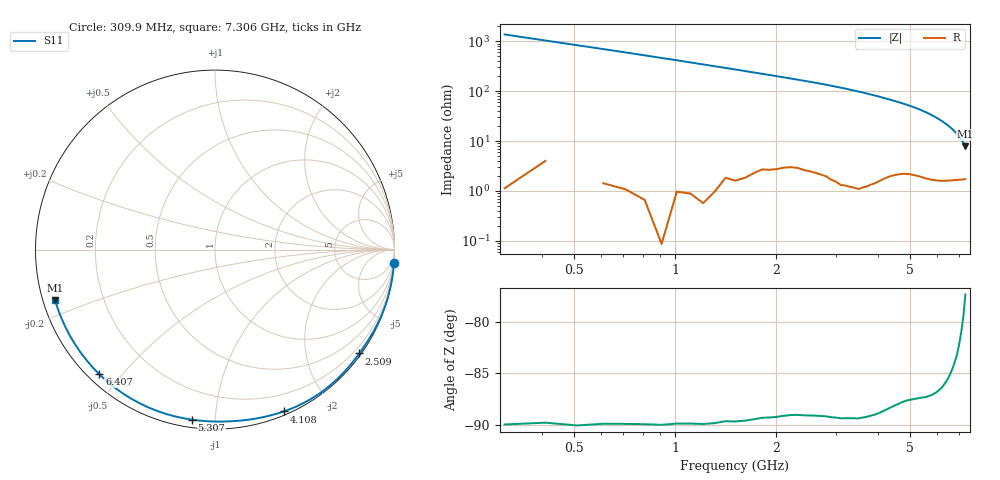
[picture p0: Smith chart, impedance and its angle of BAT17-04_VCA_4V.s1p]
! Infineon Technologies  Discrete & RF Semiconductors
! BAT17-04
! VCA = 4 V
! One-Port S-Parameters
# Hz  S  MA  R  50
!f  S11
!Hz  Mag  Ang
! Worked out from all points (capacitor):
!   71 points, 309.9 MHz to 7.306 GHz, reference 50 ohm
!   read as one part to ground: C = 374 fF near 309.9 MHz
!   lowest |Z| = 7.89 ohm at 7.306 GHz (marker M1)
!   S11 on the Smith chart (normalised r, x): 309.9 MHz: 0, -27; 2.509 GHz: 0.05, -3.10; 4.108 GHz: 0.03, -1.51; 5.307 GHz: 0.04, -0.87; 6.407 GHz: 0.03, -0.44; 7.306 GHz: 0.03, -0.15
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3.0985e8  0.9999 -4.2
8.096e8  0.9998 -10.9
1.2094e9  0.9995 -16.5
1.6092e9  0.9973 -22.3
2.10895e9  0.9923 -29.6
2.50875e9  0.9907 -35.7
2.70865e9  0.9905 -39.0
3.0085e9  0.9914 -44.2
3.2084e9  0.9916 -47.8
3.4083e9  0.9912 -51.8
3.6082e9  0.9898 -55.9
3.8081e9  0.9867 -60.3
4.10795e9  0.98 -67.0
4.4078e9  0.9712 -74.1
4.70765e9  0.9631 -81.5
5.0075e9  0.9583 -89.4
5.30735e9  0.9563 -97.8
5.50725e9  0.9557 -103.8
5.6072e9  0.9556 -106.8
5.8071e9  0.9546 -113.1
6.007e9  0.9527 -119.6
6.2069e9  0.9506 -126.2
6.4068e9  0.9475 -132.8
6.50675e9  0.946 -136.1
6.70665e9  0.943 -142.8
6.90655e9  0.9402 -149.3
7.10645e9  0.9372 -155.9
7.30635e9  0.9349 -162.5
